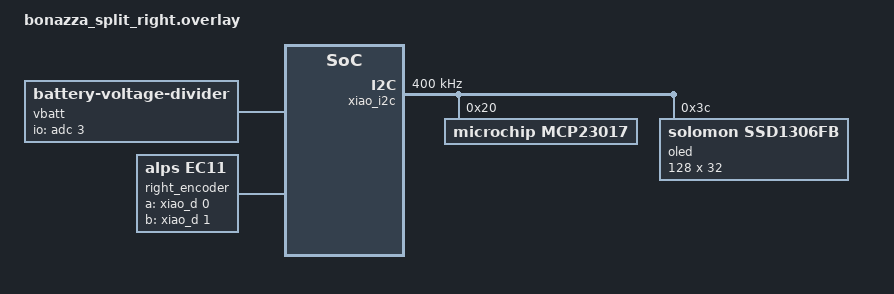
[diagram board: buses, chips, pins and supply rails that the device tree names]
#include <dt-bindings/zmk/matrix_transform.h>

/ {
    chosen {
        zmk,kscan = &kscan0;
        zmk,matrix_transform = &default_transform;
        zmk,battery = &vbatt;
        zephyr,display = &oled; // Attiva lo schermo
    };

    vbatt: vbatt {
        compatible = "zmk,battery-voltage-divider";
        io-channels = <&adc 3>;
        output-ohms = <2000000>;
        full-ohms = <2820000>;
    };

    right_encoder: encoder_right {
        compatible = "alps,ec11";
        a-gpios = <&xiao_d 0 (GPIO_ACTIVE_HIGH | GPIO_PULL_UP)>;
        b-gpios = <&xiao_d 1 (GPIO_ACTIVE_HIGH | GPIO_PULL_UP)>;
        steps = <80>;
        status = "okay";
    };

    sensors: sensors {
        compatible = "zmk,keymap-sensors";
        sensors = <&right_encoder>;
        triggers-per-rotation = <20>;
    };
};

&default_transform {
    col-offset = <8>; // Sposta i tasti a destra nella matrice logica
};

&xiao_i2c {
    status = "okay";
    clock-frequency = <400000>;

    mcp23017: mcp23017@20 {
        compatible = "microchip,mcp23017";
        reg = <0x20>;
        gpio-controller;
        #gpio-cells = <2>;
        ngpios = <16>;
    };

    // Configurazione OLED SSD1306 (0.91")
    oled: ssd1306@3c {
        compatible = "solomon,ssd1306fb";
        reg = <0x3c>; // Indirizzo I2C standard
        width = <128>;
        height = <32>;
        segment-offset = <0>;
        page-offset = <0>;
        display-offset = <0>;
        multiplex-ratio = <31>;
        segment-remap;
        com-invdir;
        com-sequential;
        prechargep = <0x22>;
    };
};

&kscan0 {
    compatible = "zmk,kscan-gpio-matrix";
    diode-direction = "row2col";
    
    // Stessi pin dell'MCP lato sinistro
    row-gpios
        = <&mcp23017 0 GPIO_ACTIVE_HIGH>
        , <&mcp23017 1 GPIO_ACTIVE_HIGH>
        , <&mcp23017 2 GPIO_ACTIVE_HIGH>
        , <&mcp23017 3 GPIO_ACTIVE_HIGH>
        , <&mcp23017 4 GPIO_ACTIVE_HIGH>;

    col-gpios
        = <&mcp23017 8 (GPIO_ACTIVE_LOW | GPIO_PULL_UP)>
        , <&mcp23017 9 (GPIO_ACTIVE_LOW | GPIO_PULL_UP)>
        , <&mcp23017 10 (GPIO_ACTIVE_LOW | GPIO_PULL_UP)>
        , <&mcp23017 11 (GPIO_ACTIVE_LOW | GPIO_PULL_UP)>
        , <&mcp23017 12 (GPIO_ACTIVE_LOW | GPIO_PULL_UP)>
        , <&mcp23017 13 (GPIO_ACTIVE_LOW | GPIO_PULL_UP)>
        , <&mcp23017 14 (GPIO_ACTIVE_LOW | GPIO_PULL_UP)>
        , <&mcp23017 15 (GPIO_ACTIVE_LOW | GPIO_PULL_UP)>;
};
